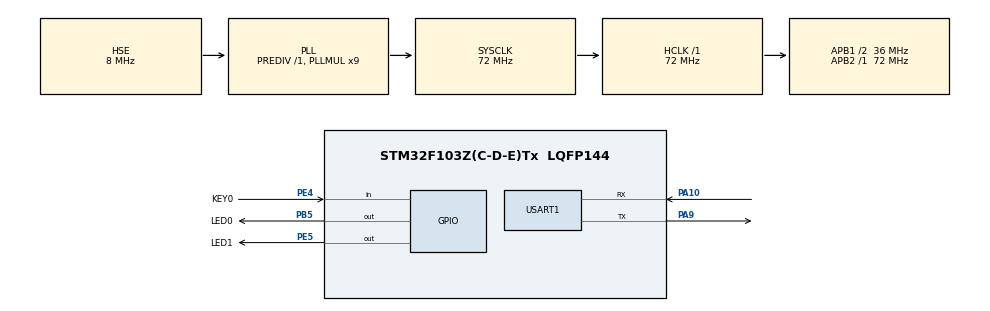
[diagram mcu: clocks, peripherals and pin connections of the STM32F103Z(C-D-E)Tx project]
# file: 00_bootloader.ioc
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Mcu.Family=STM32F1
Mcu.Name=STM32F103Z(C-D-E)Tx
Mcu.Package=LQFP144
NVIC.PriorityGroup=NVIC_PRIORITYGROUP_4
OSC_IN.Mode=HSE-External-Oscillator
OSC_IN.Signal=RCC_OSC_IN
OSC_OUT.Mode=HSE-External-Oscillator
OSC_OUT.Signal=RCC_OSC_OUT
PA10.Mode=Asynchronous
PA10.Signal=USART1_RX
PA13.Mode=Serial_Wire
PA13.Signal=SYS_JTMS-SWDIO
PA14.Mode=Serial_Wire
PA14.Signal=SYS_JTCK-SWCLK
PA9.Mode=Asynchronous
PA9.Signal=USART1_TX
PB5.GPIO_Label=LED0
PB5.GPIO_ModeDefaultOutputPP=GPIO_MODE_OUTPUT_PP
PB5.GPIO_PuPd=GPIO_PULLUP
PB5.PinState=GPIO_PIN_SET
PB5.Signal=GPIO_Output
PE4.GPIO_Label=KEY0
PE4.GPIO_PuPd=GPIO_PULLUP
PE4.Signal=GPIO_Input
PE5.GPIO_Label=LED1
PE5.GPIO_PuPd=GPIO_PULLUP
PE5.PinState=GPIO_PIN_SET
PE5.Signal=GPIO_Output
ProjectManager.HeapSize=0x200
ProjectManager.StackSize=0x400
ProjectManager.TargetToolchain=MDK-ARM V5.32
RCC.AHBFreq_Value=72000000
RCC.APB1CLKDivider=RCC_HCLK_DIV2
RCC.APB1Freq_Value=36000000
RCC.APB1TimFreq_Value=72000000
RCC.APB2Freq_Value=72000000
RCC.APB2TimFreq_Value=72000000
RCC.HCLKFreq_Value=72000000
RCC.PLLMUL=RCC_PLL_MUL9
RCC.PLLSourceVirtual=RCC_PLLSOURCE_HSE
RCC.SYSCLKFreq_VALUE=72000000
RCC.SYSCLKSource=RCC_SYSCLKSOURCE_PLLCLK
RCC.USBFreq_Value=72000000
USART1.VirtualMode=VM_ASYNC
board=custom

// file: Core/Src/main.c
/* USER CODE BEGIN Header */
/**
  ******************************************************************************
  * @file           : main.c
  * @brief          : Main program body
  ******************************************************************************
  * @attention
  *
  * Copyright (c) 2026 STMicroelectronics.
  * All rights reserved.
  *
  * This software is licensed under terms that can be found in the LICENSE file
  * in the root directory of this software component.
  * If no LICENSE file comes with this software, it is provided AS-IS.
  *
  ******************************************************************************
  */
/* USER CODE END Header */
#include "main.h"
#include "usart.h"
#include "gpio.h"

/* USER CODE BEGIN Includes */
#include "flash_if.h"
#include "jump_to_app.h"
#include <stdio.h>

/* USER CODE END Includes */

void SystemClock_Config(void);

int main(void)
{

  /* MCU Configuration--------------------------------------------------------*/

  /* Reset of all peripherals, Initializes the Flash interface and the Systick. */
  HAL_Init();

  /* Configure the system clock */
  SystemClock_Config();

  /* Initialize all configured peripherals */
  MX_GPIO_Init();
  MX_USART1_UART_Init();
  /* USER CODE BEGIN 2 */

  /* ===== printf 重定向 ===== */
  /* （放在 fputc 里更规范，这里先简单实现）*/

  /* ===== Bootloader 启动信息 ===== */
  printf("\r\n\r\n========== Bootloader v1.0 ==========\r\n");
  printf("Flash: Bootloader @ 0x08000000 (32KB)\r\n");
  printf("       APP        @ 0x08008000 (464KB)\r\n");
  printf("       OTA_FLAG   @ 0x0807F000\r\n");

  /* LED0 常亮 = 在 Bootloader 里 */
  HAL_GPIO_WritePin(LED0_GPIO_Port, LED0_Pin, GPIO_PIN_RESET);  /* 亮 */
  HAL_GPIO_WritePin(LED1_GPIO_Port, LED1_Pin, GPIO_PIN_SET);    /* 灭 */

  /* ===== 三分支状态机 ===== */

  /* ----- 分支 1：检查 OTA_FLAG（WiFi OTA 升级标志）----- */
  uint32_t ota_flag = FLASH_ReadWord(OTA_FLAG_ADDR);
  if (ota_flag == OTA_FLAG_MAGIC)
  {
      printf("[BOOT] OTA_FLAG detected! WiFi OTA mode (TODO D12)\r\n");

      /* 先清掉 FLAG，防止下次还进这里 */
      FLASH_ErasePage(OTA_FLAG_ADDR);

      /* D12 才实现 WiFi OTA，D8 先等 KEY0 进串口模式 */
      printf("[BOOT] Waiting for KEY0 to enter Serial IAP...\r\n");
      while (1)
      {
          if (HAL_GPIO_ReadPin(KEY0_GPIO_Port, KEY0_Pin) == GPIO_PIN_RESET) {
              printf("[BOOT] KEY0 pressed! Serial IAP mode (TODO D10)\r\n");
              while (1) {
                  HAL_GPIO_TogglePin(LED1_GPIO_Port, LED1_Pin);
                  HAL_Delay(200);
              }
          }
          HAL_Delay(50);
      }
  }

  /* ----- 分支 2：检查 KEY0 是否按住（串口 IAP 模式）----- */
  HAL_Delay(100);   /* 等 100ms 消抖 */
  if (HAL_GPIO_ReadPin(KEY0_GPIO_Port, KEY0_Pin) == GPIO_PIN_RESET)
  {
      printf("[BOOT] KEY0 pressed! Serial IAP mode (TODO D10)\r\n");
      printf("[BOOT] Send app.bin via Ymodem...\r\n");

      /* D10 才实现 Ymodem，D8 先 LED1 闪烁表示在 IAP 模式 */
      while (1) {
          HAL_GPIO_TogglePin(LED1_GPIO_Port, LED1_Pin);
          HAL_GPIO_TogglePin(LED0_GPIO_Port, LED0_Pin);
          HAL_Delay(200);
      }
  }

  /* ----- 分支 3：检查 APP 是否有效，有效就跳转 ----- */
  if (IsAppValid())
  {
      printf("[BOOT] APP valid, jumping to 0x%08X...\r\n", APP_FLASH_START);
      HAL_Delay(200);
      HAL_GPIO_WritePin(LED0_GPIO_Port, LED0_Pin, GPIO_PIN_SET);  /* 灭灯表示要走了 */
      JumpToApp();   /* 跳转后不会返回 */
  }
  else
  {
      /* APP 无效（没烧或写坏了），死等用户用串口救砖 */
      printf("[BOOT] APP NOT valid! Waiting for firmware...\r\n");
      printf("[BOOT] Hold KEY0 + Reset to flash via Serial IAP\r\n");
      while (1) {
          HAL_GPIO_TogglePin(LED0_GPIO_Port, LED0_Pin);
          HAL_Delay(500);
      }
  }

  /* USER CODE END 2 */

  /* Infinite loop */
  while (1)
  {

  }
}

void SystemClock_Config(void)
{
  RCC_OscInitTypeDef RCC_OscInitStruct = {0};
  RCC_ClkInitTypeDef RCC_ClkInitStruct = {0};

  /** Initializes the RCC Oscillators according to the specified parameters
  * in the RCC_OscInitTypeDef structure.
  */
  RCC_OscInitStruct.OscillatorType = RCC_OSCILLATORTYPE_HSE;
  RCC_OscInitStruct.HSEState = RCC_HSE_ON;
  RCC_OscInitStruct.HSEPredivValue = RCC_HSE_PREDIV_DIV1;
  RCC_OscInitStruct.HSIState = RCC_HSI_ON;
  RCC_OscInitStruct.PLL.PLLState = RCC_PLL_ON;
  RCC_OscInitStruct.PLL.PLLSource = RCC_PLLSOURCE_HSE;
  RCC_OscInitStruct.PLL.PLLMUL = RCC_PLL_MUL9;
  if (HAL_RCC_OscConfig(&RCC_OscInitStruct) != HAL_OK)
  {
    Error_Handler();
  }

  /** Initializes the CPU, AHB and APB buses clocks
  */
  RCC_ClkInitStruct.ClockType = RCC_CLOCKTYPE_HCLK|RCC_CLOCKTYPE_SYSCLK
                              |RCC_CLOCKTYPE_PCLK1|RCC_CLOCKTYPE_PCLK2;
  RCC_ClkInitStruct.SYSCLKSource = RCC_SYSCLKSOURCE_PLLCLK;
  RCC_ClkInitStruct.AHBCLKDivider = RCC_SYSCLK_DIV1;
  RCC_ClkInitStruct.APB1CLKDivider = RCC_HCLK_DIV2;
  RCC_ClkInitStruct.APB2CLKDivider = RCC_HCLK_DIV1;

  if (HAL_RCC_ClockConfig(&RCC_ClkInitStruct, FLASH_LATENCY_2) != HAL_OK)
  {
    Error_Handler();
  }
}

/* USER CODE BEGIN 4 */

/* ========== printf 重定向：把 printf 输出重定向到 USART1 ========== */
struct __FILE {
    int handle;
};

FILE __stdout;
FILE __stdin;

int fputc(int ch, FILE *f)
{
    /* 把字符 ch 直接丢给 HAL_UART_Transmit 从 USART1 发出去 */
    HAL_UART_Transmit(&huart1, (uint8_t *)&ch, 1, 10);
    return ch;
}

/* USER CODE END 4 */

void Error_Handler(void)
{
  __disable_irq();
  while (1)
  {
  }
}
